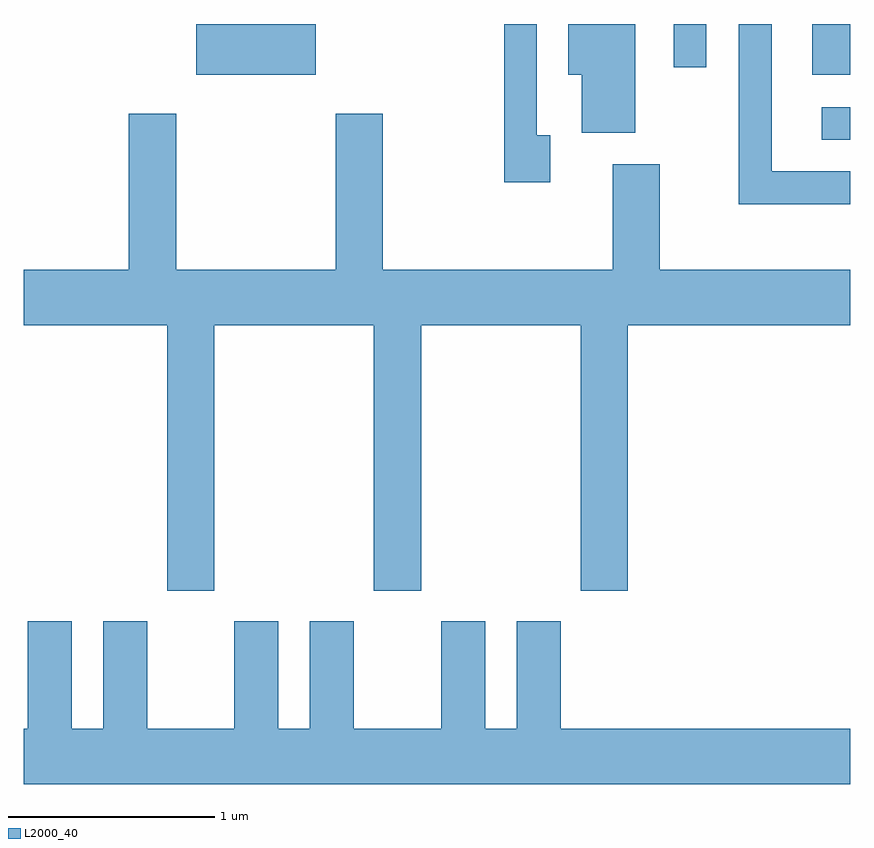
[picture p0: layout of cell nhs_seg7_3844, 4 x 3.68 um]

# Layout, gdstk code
import gdstk
lib = gdstk.Library(unit=1e-6, precision=1e-09)
def R(c, l, rs):  # rectangles x0, y0, x1, y1
    for r in rs: c.add(gdstk.rectangle(r[:2], r[2:], *l))
def P(c, l, *ps):  # polygons
    for p in ps: c.add(gdstk.Polygon(p, *l))
L2000_40 = (2000, 40)

nhs_seg7_3844 = lib.new_cell('nhs_seg7_3844')
R(nhs_seg7_3844, L2000_40, [(307.473,1679.691,307.611,1679.849), (304.446,1680.006,305.024,1680.252), (307.426,1680.006,307.611,1680.252), (306.756,1680.043,306.914,1680.252)])
P(nhs_seg7_3844, L2000_40, [(306.569,1680.252),(306.246,1680.252),(306.246,1680.006),(306.311,1680.006),(306.311,1679.726),(306.569,1679.726)],
  [(307.611,1679.539),(307.229,1679.539),(307.229,1680.252),(307.071,1680.252),(307.071,1679.381),(307.611,1679.381)],
  [(306.159,1679.714),(306.094,1679.714),(306.094,1680.252),(305.936,1680.252),(305.936,1679.486),(306.159,1679.486)],
  [(304.534,1678.796),(305.306,1678.796),(305.306,1677.511),(305.534,1677.511),(305.534,1678.796),(306.306,1678.796),(306.306,1677.511),(306.534,1677.511),(306.534,1678.796),(307.611,1678.796),(307.611,1679.064),(306.689,1679.064),(306.689,1679.574),(306.461,1679.574),(306.461,1679.064),(305.349,1679.064),(305.349,1679.819),(305.121,1679.819),(305.121,1679.064),(304.349,1679.064),(304.349,1679.819),(304.121,1679.819),(304.121,1679.064),(303.611,1679.064),(303.611,1678.796),(304.306,1678.796),(304.306,1677.511),(304.534,1677.511)],
  [(307.611,1676.844),(306.209,1676.844),(306.209,1677.364),(305.996,1677.364),(305.996,1676.844),(305.844,1676.844),(305.844,1677.364),(305.631,1677.364),(305.631,1676.844),(305.209,1676.844),(305.209,1677.364),(304.996,1677.364),(304.996,1676.844),(304.844,1676.844),(304.844,1677.364),(304.631,1677.364),(304.631,1676.844),(304.209,1676.844),(304.209,1677.364),(303.996,1677.364),(303.996,1676.844),(303.844,1676.844),(303.844,1677.364),(303.631,1677.364),(303.631,1676.844),(303.611,1676.844),(303.611,1676.576),(307.611,1676.576)])

lib.write_gds('nhs_seg7_3844.gds')
